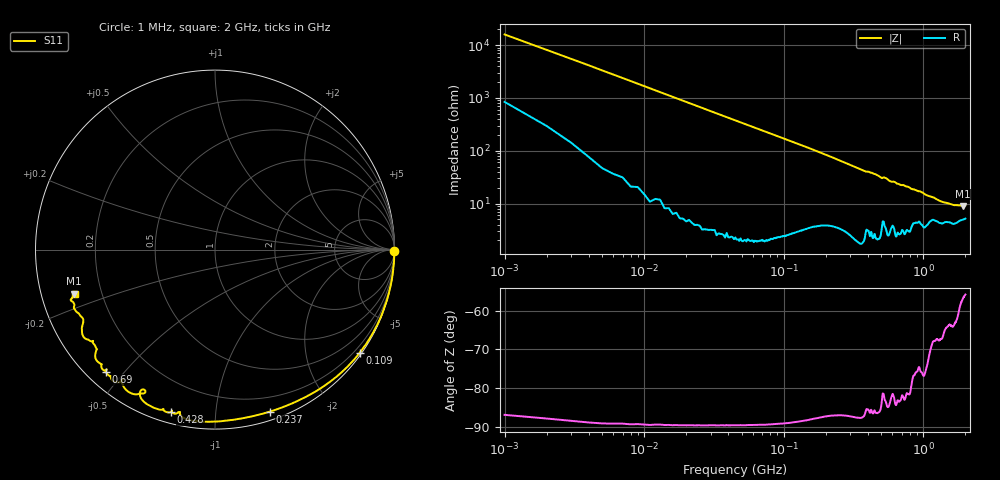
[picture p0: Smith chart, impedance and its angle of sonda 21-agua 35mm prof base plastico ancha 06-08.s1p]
! COPPER MOUNTAIN TECHNOLOGIES, R60, 23103002, 24.3.3/3.0
! Date: 6/8/2026 17:08:24
! Data: Format [Calibration Info]
! Frequency		S11: Mag/Ang F1
# HZ S MA R 50
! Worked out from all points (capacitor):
!   2000 points, 1 MHz to 2 GHz, reference 50 ohm
!   read as one part to ground: C = 9.49 pF near 11 MHz
!   lowest |Z| = 9.05 ohm at 1.92 GHz (marker M1)
!   S11 on the Smith chart (normalised r, x): 1 MHz: open; 109 MHz: 0.05, -3.13; 237 MHz: 0.07, -1.40; 428 MHz: 0.05, -0.76; 690 MHz: 0.05, -0.45; 2 GHz: 0.10, -0.15
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1000000  0.9997 -0.4
5.3e7  0.9981 -17.8
1.09e8  0.9904 -35.5
1.7e8  0.9709 -53.2
2.37e8  0.9532 -71.1
2.51e8  0.9519 -74.6
3.18e8  0.9582 -89.5
3.73e8  0.9563 -99.9
3.94e8  0.926 -102.1
4.28e8  0.9388 -105.2
4.75e8  0.9426 -112.1
5.01e8  0.9138 -117.2
5.25e8  0.8919 -116.2
5.51e8  0.9245 -119.5
5.74e8  0.9169 -123.8
6.13e8  0.8947 -125.5
6.42e8  0.9242 -128.6
6.9e8  0.9134 -131.8
7.51e8  0.9045 -134.5
8.42e8  0.8634 -139.8
9.38e8  0.8501 -143.2
1.001e9  0.8775 -145.8
1.103e9  0.8471 -150.5
1.251e9  0.8382 -154.9
1.501e9  0.8418 -159.2
1.751e9  0.8425 -161.2
1.92e9  0.8236 -162.6
2e9  0.8159 -162.4
